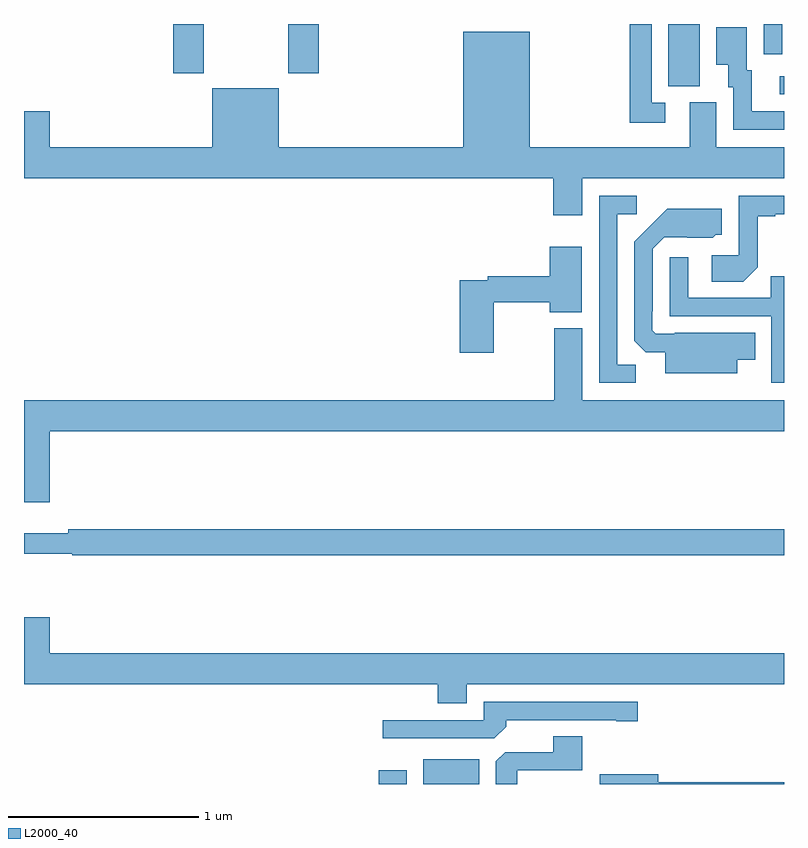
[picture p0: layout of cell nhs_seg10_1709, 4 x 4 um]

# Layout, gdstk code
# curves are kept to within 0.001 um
import gdstk
lib = gdstk.Library(unit=1e-6, precision=1e-09)
def R(c, l, rs):  # rectangles x0, y0, x1, y1
    for r in rs: c.add(gdstk.rectangle(r[:2], r[2:], *l))
def P(c, l, *ps):  # polygons
    for p in ps: c.add(gdstk.Polygon(p, *l))
L2000_40 = (2000, 40)

nhs_seg10_1709 = lib.new_cell('nhs_seg10_1709')
R(nhs_seg10_1709, L2000_40, [(202.868,1258.5,203.014,1258.573), (203.102,1258.5,203.395,1258.63), (204.978,1262.13,205,1262.226), (204.392,1262.173,204.556,1262.5), (201.785,1262.241,201.945,1262.5), (202.39,1262.241,202.55,1262.5), (204.894,1262.34,204.99,1262.5)])
P(nhs_seg10_1709, L2000_40, [(204.376,1262.085),(204.303,1262.085),(204.303,1262.5),(204.187,1262.5),(204.187,1261.98),(204.376,1261.98)],
  [(205,1262.04),(204.829,1262.04),(204.829,1262.256),(204.805,1262.256),(204.805,1262.482),(204.644,1262.482),(204.644,1262.285),(204.707,1262.285),(204.707,1262.166),(204.732,1262.166),(204.732,1261.944),(205,1261.944)],
  [(203.938,1261.688),(205,1261.688),(205,1261.852),(204.643,1261.852),(204.643,1262.088),(204.503,1262.088),(204.503,1261.852),(203.662,1261.852),(203.662,1262.458),(203.312,1262.458),(203.312,1261.852),(202.342,1261.852),(202.342,1262.161),(201.992,1262.161),(201.992,1261.852),(201.136,1261.852),(201.136,1262.041),(201,1262.041),(201,1261.688),(203.786,1261.688),(203.786,1261.494),(203.938,1261.494)],
  [(204.219,1260.707),(204.123,1260.707),(204.123,1261.5),(204.226,1261.5),(204.226,1261.596),(204.027,1261.596),(204.027,1260.612),(204.219,1260.612)],
  [(204.861,1261.22),(204.861,1261.488),(204.955,1261.488),(204.955,1261.5),(205,1261.5),(205,1261.596),(204.762,1261.596),(204.762,1261.284),(204.621,1261.284),(204.621,1261.144),(204.785,1261.144)],
  [(204.754,1260.734),(204.848,1260.734),(204.848,1260.874),(204.424,1260.874),(204.424,1260.87),(204.324,1260.87),(204.306,1260.888),(204.306,1260.988),(204.309,1260.988),(204.309,1261.317),(204.369,1261.377),(204.626,1261.376),(204.642,1261.392),(204.673,1261.392),(204.673,1261.528),(204.385,1261.528),(204.213,1261.354),(204.213,1260.832),(204.272,1260.773),(204.374,1260.773),(204.374,1260.662),(204.754,1260.662)],
  [(203.472,1261.036),(203.768,1261.036),(203.768,1260.983),(203.935,1260.983),(203.935,1261.327),(203.768,1261.327),(203.768,1261.172),(203.44,1261.172),(203.44,1261.152),(203.294,1261.152),(203.294,1260.771),(203.472,1260.771)],
  [(205,1261.172),(204.931,1261.172),(204.931,1261.059),(204.495,1261.059),(204.495,1261.273),(204.399,1261.273),(204.399,1260.963),(204.933,1260.963),(204.933,1260.612),(205,1260.612)],
  [(201.136,1260.356),(205,1260.356),(205,1260.52),(203.938,1260.52),(203.938,1260.898),(203.791,1260.898),(203.791,1260.52),(201,1260.52),(201,1259.982),(201.136,1259.982)],
  [(205,1259.84),(201.232,1259.84),(201.232,1259.821),(201,1259.821),(201,1259.712),(201.255,1259.712),(201.255,1259.704),(205,1259.704)],
  [(203.329,1259.024),(205,1259.024),(205,1259.188),(201.136,1259.188),(201.136,1259.377),(201,1259.377),(201,1259.024),(203.177,1259.024),(203.177,1258.925),(203.329,1258.925)],
  [(203.537,1258.802),(203.537,1258.836),(204.116,1258.836),(204.116,1258.831),(204.229,1258.831),(204.229,1258.932),(203.421,1258.932),(203.421,1258.836),(202.887,1258.836),(202.887,1258.74),(203.475,1258.74)],
  [(203.595,1258.572),(203.939,1258.572),(203.939,1258.751),(203.786,1258.751),(203.786,1258.668),(203.532,1258.668),(203.483,1258.619),(203.483,1258.5),(203.595,1258.5)],
  [(205,1258.508),(204.337,1258.508),(204.337,1258.552),(204.03,1258.552),(204.03,1258.5),(205,1258.5)])

lib.write_gds('nhs_seg10_1709.gds')
